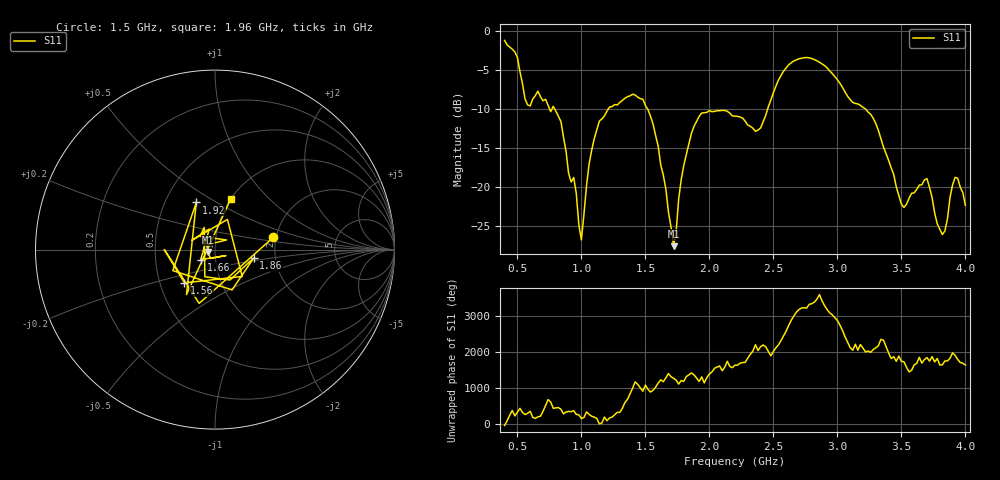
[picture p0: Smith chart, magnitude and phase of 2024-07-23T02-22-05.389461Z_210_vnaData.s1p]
!Created with skrf (http://scikit-rf.org).
# Hz S RI R 50.0
!freq ReS11 ImS11
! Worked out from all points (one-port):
!   181 points, 400 MHz to 4 GHz, reference 50 ohm
!   lowest |S11| = -27.6 dB at 1.72 GHz (marker M1), VSWR 1.09, Z = 46.2 - j1.28 ohm
!   |S11| at or under -10 dB: 790.1 MHz to 1.212 GHz (421.8 MHz wide, 42.1 % of centre); 1.516 GHz to 2.456 GHz (940.1 MHz wide, 47.3 % of centre); 3.216 GHz to end of sweep (the widest 3 of 4)
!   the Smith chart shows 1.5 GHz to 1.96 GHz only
!   S11 on the Smith chart (normalised r, x): 1.5 GHz: 1.93, +0.30; 1.56 GHz: 0.67, -0.26; 1.66 GHz: 0.85, -0.10; 1.86 GHz: 1.54, -0.15; 1.92 GHz: 0.71, +0.41; 1.96 GHz: 1.00, +0.62
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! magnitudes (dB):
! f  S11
! 400 MHz  -1.3
! 500 MHz  -3.4
! 580 MHz  -9.5
! 660 MHz  -7.8
! 860 MHz  -13.6
! 940 MHz  -18.8
! 1 GHz  -26.8
! 1.1 GHz  -13.9
! 1.3 GHz  -9.2
! 1.5 GHz  -9.6
! 1.56 GHz  -12.0
! 1.66 GHz  -20.3
! 1.72 GHz  -27.6
! 1.76 GHz  -21.5
! 1.86 GHz  -13.1
! 1.92 GHz  -11.0
! 1.96 GHz  -10.5
! 2.2 GHz  -11.0
! 2.4 GHz  -12.5
! 2.66 GHz  -3.9
! 3.1 GHz  -8.8
! 3.28 GHz  -11.2
! 3.5 GHz  -22.2
! 3.56 GHz  -21.4
! 3.7 GHz  -18.9
! 3.82 GHz  -26.1
! 3.92 GHz  -18.8
! 4 GHz  -22.3
